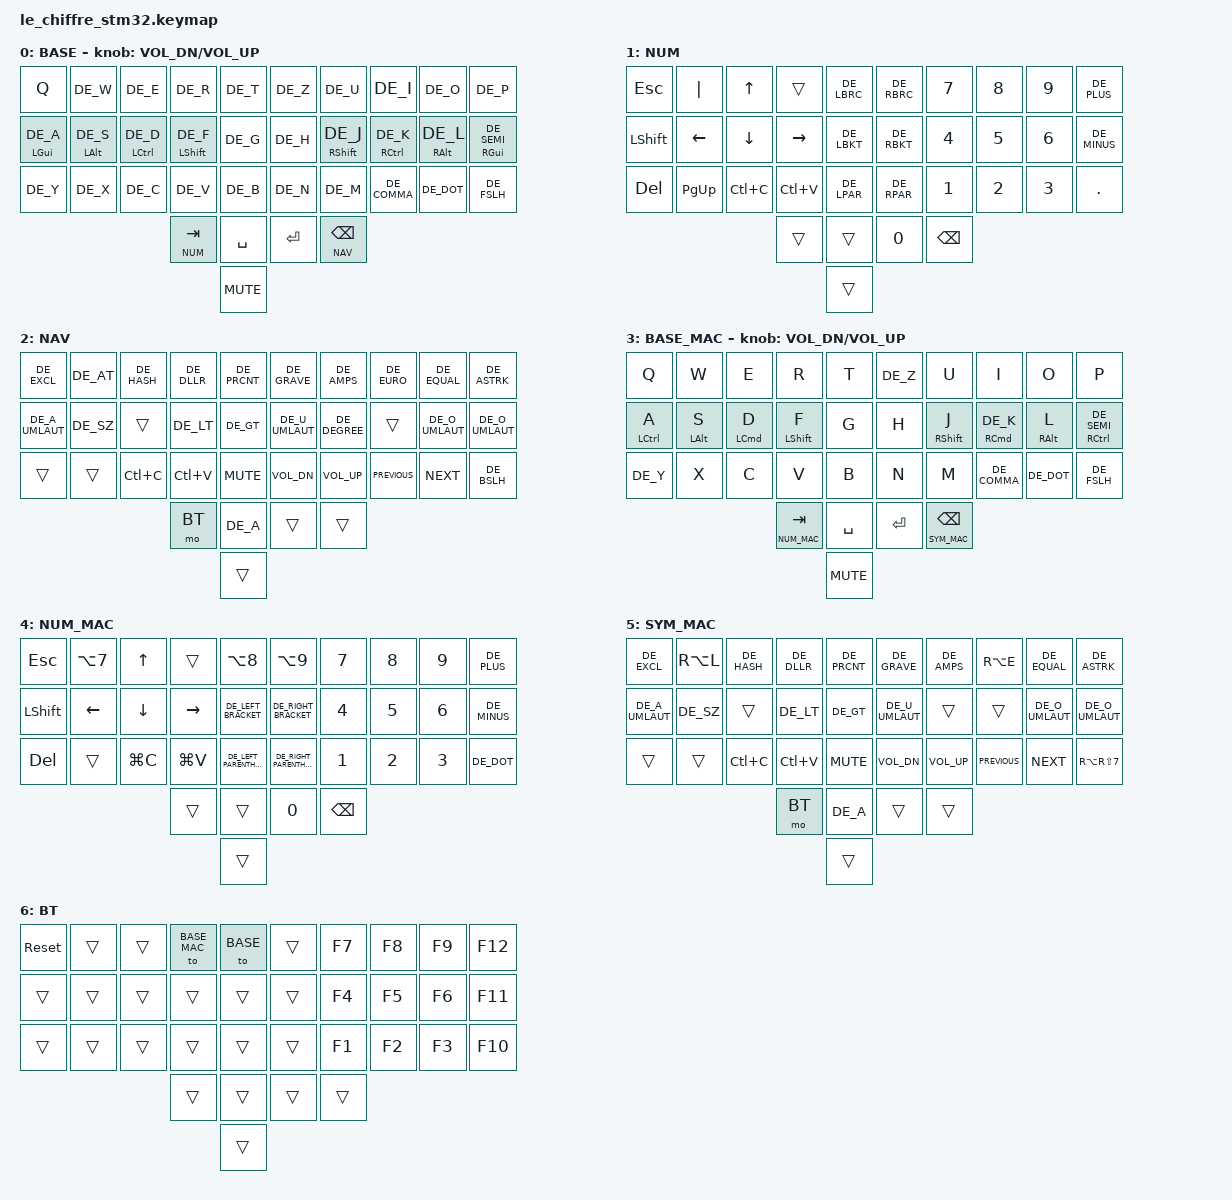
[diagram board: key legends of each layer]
/*
 * Copyright (c) 2022 The ZMK Contributors
 *
 * SPDX-License-Identifier: MIT
 *
 * Belegung übertragen von der Bad Wings V2 (bw2.keymap).
 *
 * Positionen 0-29 (3x10 Alphas) sind auf beiden Boards identisch, daher
 * sind alle Combos 1:1 übernommen.
 *
 * Daumen: Bad Wings hat 3+3, Le Chiffre (transform_with_encoder) hat 2+2
 * plus die Encoder-Taste in der Mitte (Position 34):
 *
 *   Bad Wings:  30 DEL | 31 TAB/NUM | 32 SPACE    33 ENTER | 34 NAV | 35 BSPC
 *   Le Chiffre:          30 TAB/NUM | 31 SPACE    32 ENTER | 33 NAV/BSPC
 *                                       34 Encoder-Taste (Mute)
 *
 *   - DEL (äußerer linker Daumen) entfällt, liegt weiterhin auf NUM (Pos. 20)
 *   - &mo 2 + BSPC werden zu &lt 2 BSPC zusammengelegt (wie bisher am Chiffre)
 *   - Mac: &lt 5 ESC + BSPC -> &lt 5 BSPC, ESC über Combo 0+1
 *
 * Falls die äußeren Daumentasten bestückt sind: in der .dts
 * zmk,matrix_transform = &transform_36key_with_encoder setzen, dann lässt
 * sich die Bad-Wings-Belegung 1:1 übernehmen.
 */

#include "keys_de.h"
#include <behaviors.dtsi>
#include <dt-bindings/zmk/bt.h>
#include <dt-bindings/zmk/keys.h>
#include <dt-bindings/zmk/outputs.h>

#define BASE     0
#define NUM      1
#define NAV      2
#define BASE_MAC 3
#define NUM_MAC  4
#define SYM_MAC  5
#define BT       6

// Positionen für hold-trigger-key-positions
#define KEYS_L 0 1 2 3 4 10 11 12 13 14 20 21 22 23 24
#define KEYS_R 5 6 7 8 9 15 16 17 18 19 25 26 27 28 29
#define THUMBS 30 31 32 33 34

&mt {
    quick-tap-ms = <100>;
    require-prior-idle-ms = <100>;   // entspricht global-quick-tap + quick-tap-ms
    flavor = "tap-preferred";
    tapping-term-ms = <170>;
};

/ {
    combos {
        compatible = "zmk,combos";

        combo_esc {
            timeout-ms = <50>;
            key-positions = <0 1>;
            bindings = <&kp ESC>;
            slow-release;
        };

        combo_caps {
            timeout-ms = <50>;
            key-positions = <15 19>;
            bindings = <&caps_word>;
        };

        combo_singlequote {
            timeout-ms = <75>;
            key-positions = <7 8>;
            bindings = <&kp DE_SQT>;
        };

        combo_doublequote {
            timeout-ms = <75>;
            key-positions = <8 9>;
            bindings = <&kp DE_DQT>;
        };

        combo_minus {
            timeout-ms = <50>;
            key-positions = <17 18>;
            bindings = <&kp DE_MINUS>;
            slow-release;
        };

        combo_plus {
            timeout-ms = <50>;
            key-positions = <16 17>;
            bindings = <&kp DE_PLUS>;
            slow-release;
        };

        combo_equal {
            timeout-ms = <50>;
            key-positions = <26 27>;
            bindings = <&kp DE_EQUAL>;
            slow-release;
        };

        combo_underscore {
            timeout-ms = <50>;
            key-positions = <16 17 18>;
            bindings = <&kp DE_UNDER>;
        };

        combo_worddelete {
            timeout-ms = <50>;
            key-positions = <18 19>;
            bindings = <&kp LC(BSPC)>;
        };

        combo_questionmark {
            timeout-ms = <50>;
            key-positions = <27 28>;
            bindings = <&kp DE_QMARK>;
        };

        combo_worddelete_mac {
            bindings = <&kp RA(BACKSPACE)>;
            key-positions = <18 19>;
            layers = <BASE_MAC>;
        };

        combo_enter {
            bindings = <&kp ENTER>;
            key-positions = <16 18>;
        };
    };

    behaviors {
        hl: homerow_mods_left {
            compatible = "zmk,behavior-hold-tap";
            label = "homerow mods left";
            #binding-cells = <2>;
            require-prior-idle-ms = <100>;
            flavor = "balanced";
            tapping-term-ms = <155>;

            bindings = <&kp>, <&kp>;

            // gegenüberliegende Hand + alle Daumen
            hold-trigger-key-positions = <KEYS_R THUMBS>;
        };

        hr: homerow_mods_right {
            compatible = "zmk,behavior-hold-tap";
            label = "homerow mods right";
            #binding-cells = <2>;
            require-prior-idle-ms = <100>;
            flavor = "balanced";
            tapping-term-ms = <155>;

            bindings = <&kp>, <&kp>;

            // gegenüberliegende Hand + alle Daumen
            hold-trigger-key-positions = <KEYS_L THUMBS>;
        };
    };

    keymap {
        compatible = "zmk,keymap";

        base_layer {
            label = "BASE";

            bindings = <
            &kp Q          &kp DE_W       &kp DE_E        &kp DE_R        &kp DE_T     &kp DE_Z   &kp DE_U        &kp DE_I        &kp DE_O       &kp DE_P
            &hl LGUI DE_A  &hl LALT DE_S  &hl LCTRL DE_D  &hl LSHFT DE_F  &kp DE_G     &kp DE_H   &hr RSHFT DE_J  &hr RCTRL DE_K  &hr RALT DE_L  &hr RGUI DE_SEMI
            &kp DE_Y       &kp DE_X       &kp DE_C        &kp DE_V        &kp DE_B     &kp DE_N   &kp DE_M        &kp DE_COMMA    &kp DE_DOT     &kp DE_FSLH
                                                          &lt NUM TAB     &kp SPACE    &kp ENTER  &lt NAV BSPC
                                                                             &kp C_MUTE
            >;

            sensor-bindings = <&inc_dec_kp C_VOL_DN C_VOL_UP>;
        };

        NUM_layer {
            label = "NUM";

            bindings = <
                 &kp ESC    &kp PIPE   &kp UP     &trans     &kp DE_LBRC    &kp DE_RBRC  &kp N7        &kp N8    &kp N9  &kp DE_PLUS
                 &kp LSHFT  &kp LEFT   &kp DOWN   &kp RIGHT  &kp DE_LBKT    &kp DE_RBKT  &kp N4        &kp N5    &kp N6  &kp DE_MINUS
                 &kp DEL    &kp PG_UP  &kp LC(C)  &kp LC(V)  &kp DE_LPAR    &kp DE_RPAR  &kp N1        &kp N2    &kp N3  &kp DOT
                                                  &trans     &trans         &kp N0       &kp BSPC
                                                                     &trans
            >;
        };

        nav_layer {
            label = "NAV";

            bindings = <
        &kp DE_EXCL      &kp DE_AT  &kp DE_HASH  &kp DE_DLLR  &kp DE_PRCNT    &kp DE_GRAVE     &kp DE_AMPS    &kp DE_EURO     &kp DE_EQUAL     &kp DE_ASTRK
        &kp DE_A_UMLAUT  &kp DE_SZ  &trans       &kp DE_LT    &kp DE_GT       &kp DE_U_UMLAUT  &kp DE_DEGREE  &trans          &kp DE_O_UMLAUT  &kp DE_O_UMLAUT
        &trans           &trans     &kp LC(C)    &kp LC(V)    &kp C_MUTE      &kp C_VOL_DN     &kp C_VOL_UP   &kp C_PREVIOUS  &kp C_NEXT       &kp DE_BSLH
                                                 &mo BT       &kp DE_A        &trans           &trans
                                                                     &trans
            >;
        };

        BASE_mac {
            label = "BASE_MAC";

            bindings = <
                 &kp Q               &kp W           &kp E               &kp R             &kp T        &kp DE_Z   &kp U              &kp I                   &kp O            &kp P
                 &hl LEFT_CONTROL A  &hl LEFT_ALT S  &hl LEFT_COMMAND D  &hl LEFT_SHIFT F  &kp G        &kp H      &hr RIGHT_SHIFT J  &hr RIGHT_COMMAND DE_K  &hr RIGHT_ALT L  &hr RIGHT_CONTROL DE_SEMI
                 &kp DE_Y            &kp X           &kp C               &kp V             &kp B        &kp N      &kp M              &kp DE_COMMA            &kp DE_DOT       &kp DE_FSLH
                                                                         &lt NUM_MAC TAB   &kp SPACE    &kp ENTER  &lt SYM_MAC BSPC
                                                                                              &kp C_MUTE
            >;

            sensor-bindings = <&inc_dec_kp C_VOL_DN C_VOL_UP>;
        };

        NUM_mac {
            label = "NUM_MAC";

            bindings = <
                 &kp ESCAPE      &kp LA(N7)      &kp UP          &trans           &kp LA(NUMBER_8)           &kp LA(N9)                &kp NUMBER_7       &kp N8         &kp N9        &kp DE_PLUS
                 &kp LEFT_SHIFT  &kp LEFT_ARROW  &kp DOWN_ARROW  &kp RIGHT_ARROW  &kp DE_LEFT_BRACKET        &kp DE_RIGHT_BRACKET      &kp NUMBER_4       &kp NUMBER_5   &kp NUMBER_6  &kp DE_MINUS
                 &kp DELETE      &trans          &kp LG(C)       &kp LG(V)        &kp DE_LEFT_PARENTHESIS    &kp DE_RIGHT_PARENTHESIS  &kp NUMBER_1       &kp N2         &kp NUMBER_3  &kp DE_DOT
                                                                 &trans           &trans                     &kp NUMBER_0              &kp BACKSPACE
                                                                                                     &trans
            >;
        };

        SYM_mac {
            label = "SYM_MAC";

            bindings = <
        &kp DE_EXCL      &kp RA(L)  &kp DE_HASH  &kp DE_DLLR  &kp DE_PRCNT    &kp DE_GRAVE     &kp DE_AMPS   &kp RA(E)       &kp DE_EQUAL     &kp DE_ASTRK
        &kp DE_A_UMLAUT  &kp DE_SZ  &trans       &kp DE_LT    &kp DE_GT       &kp DE_U_UMLAUT  &trans        &trans          &kp DE_O_UMLAUT  &kp DE_O_UMLAUT
        &trans           &trans     &kp LC(C)    &kp LC(V)    &kp C_MUTE      &kp C_VOL_DN     &kp C_VOL_UP  &kp C_PREVIOUS  &kp C_NEXT       &kp RA(RS(N7))
                                                 &mo BT       &kp DE_A        &trans           &trans
                                                                     &trans
            >;
        };

        BT_layer {
            label = "BT";

            bindings = <
       &sys_reset   &trans  &trans   &to BASE_MAC  &to BASE     &trans  &kp F7  &kp F8  &kp F9  &kp F12
       &trans       &trans  &trans   &trans        &trans       &trans  &kp F4  &kp F5  &kp F6  &kp F11
       &trans       &trans  &trans   &trans        &trans       &trans  &kp F1  &kp F2  &kp F3  &kp F10
                                     &trans        &trans       &trans  &trans
                                                         &trans
            >;
        };
    };
};
